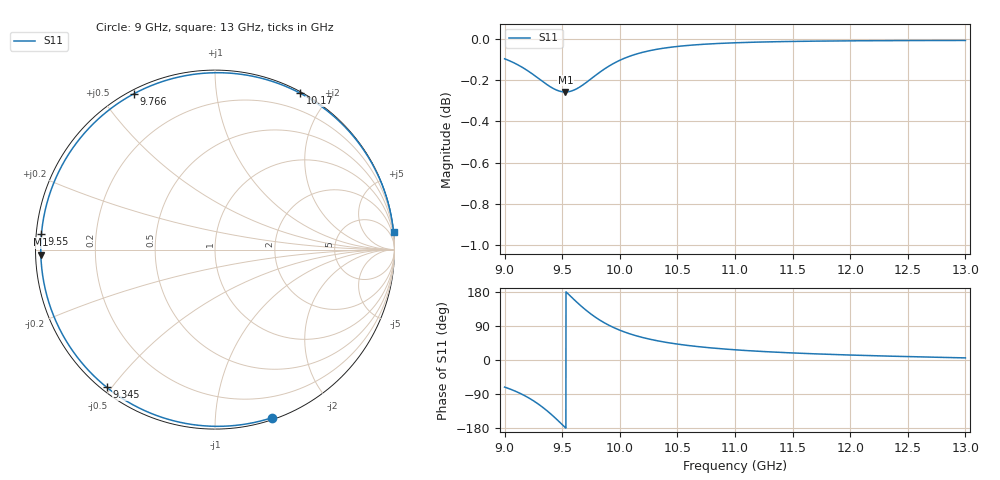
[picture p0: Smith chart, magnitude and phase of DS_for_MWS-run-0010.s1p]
! TOUCHSTONE file generated by CST DESIGN STUDIO
! Date and time: Tue Feb  4 12:34:31 2025
! Project name: C:\Work\MatlabApps\UnitCellOptimizationMatlab\CST\unitcell.cst
! Tree item: Tasks\Sweep1\SPara1\S-Parameters
! Header version: 2024
! Port assignment regex: !\s*Touchstone port\s*([0-9]+)\s*=\s*(CST MWS port|CST DES external port|CST DES block port)\s*(.+)\s* \(\"(.*)\"\)(\s*mode\s*([0-9]+))?.*
! Touchstone port assignment:
! Touchstone port 1 = CST DES external port 1 ("")
# GHz S MA R 50
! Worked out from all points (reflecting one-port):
!   4001 points, 9 GHz to 13 GHz, reference 50 ohm
!   lowest |S11| = -0.3 dB at 9.527 GHz (marker M1), VSWR 67.61, Z = 0.74 - j0.711 ohm
!   phase of S11 starts at -71 deg and turns -283 deg over the sweep
!   S11 on the Smith chart (normalised r, x): 9 GHz: 0.02, -1.39; 9.345 GHz: 0.02, -0.49; 9.55 GHz: 0.01, +0.05; 9.766 GHz: 0.01, +0.61; 10.17 GHz: 0.02, +1.69; 13 GHz: 0, +21
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9  0.9891 -71.4
9.096  0.9863 -82.7
9.203  0.9824 -98.9
9.278  0.979 -113.2
9.345  0.9759 -128.2
9.418  0.9729 -147.0
9.461  0.9716 -159.0
9.5  0.971 -170.4
9.527  0.9709 -178.4
9.55  0.971 174.8
9.604  0.9719 159.0
9.664  0.974 142.4
9.715  0.9763 129.4
9.766  0.9788 117.6
9.815  0.9811 107.5
9.869  0.9835 97.6
9.934  0.9861 87.4
10  0.9882 78.6
10.083  0.9904 69.5
10.173  0.9922 61.3
10.322  0.9943 51.0
10.5  0.9959 42.0
10.721  0.9971 34.0
11  0.998 26.9
11.5  0.9987 18.6
12  0.999 13.1
12.5  0.9992 9.0
13  0.9993 5.6
